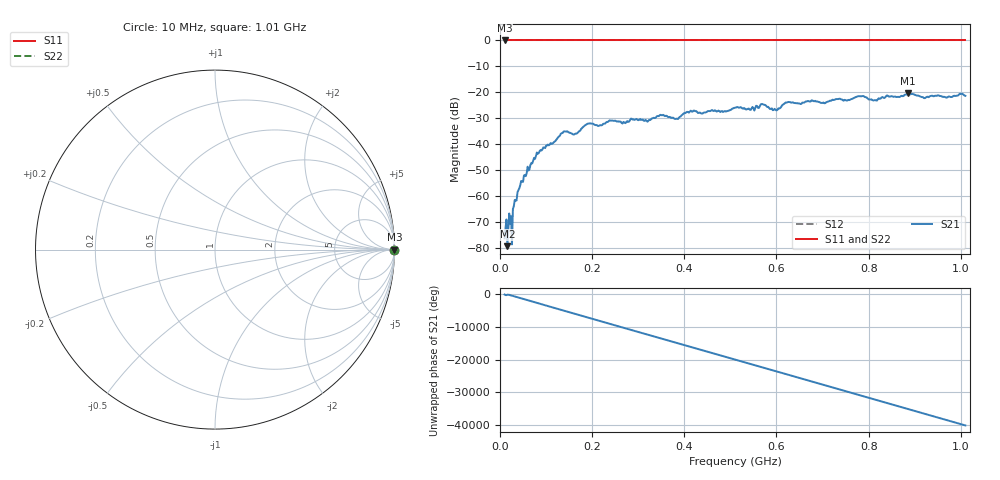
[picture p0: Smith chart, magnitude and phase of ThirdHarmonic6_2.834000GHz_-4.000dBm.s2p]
! 8/17/2025 7:34:20 AM
! C:\ANRITSUVNA\TEMP\TEMP.S2P
! CHANNEL.1
! TR.MEASUREMENT
! RAW.DATA
! RF.CORRECTION.OFF
! AVERAGING.OFF
! IF.BANDWIDTH: 5KHZ
! SWEEPTYPE:  FREQ.SWEEP(Linear)
! Reference Plane Port Info
! PORT:  PORT1  PORT2
! DISTANCE:  0  m  0  m
! TIME:  0  s  0  s
! PHASE.OFFSET:  0  deg.  0  deg.
! LOSS:  0  dB  0  dB
! REF.LOSS:  0  dB  0  dB
! REF.FREQ:  0  Hz  0  Hz
! Power Info
! POWER:  -20  dBm  -20  dBm
! EFF.POWER:  -20  dBm  -20  dBm
! SOURCE.ATTEN:  0  dB  0  dB
! TEST.ATTEN:  0  dB  0  dB
# GHZ S RI R 50.0
! FREQ.GHZ  S11RE  S11IM  S21RE  S21IM  S12RE  S12IM  S22RE  S22IM
!; PortSelection: Port_12
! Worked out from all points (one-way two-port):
!   501 points, 10 MHz to 1.01 GHz, reference 50 ohm
!   highest |S21| = -20.41 dB at 886 MHz (marker M1); lowest = -79.2 dB at 16 MHz (marker M2)
!   lowest |S11| = 0.0 dB at 10 MHz (marker M3)
!   |S11| at or under -10 dB: nowhere
!   |S22| runs from 0.0 to 0.0 dB; largest |S21 - S12| = 1.1
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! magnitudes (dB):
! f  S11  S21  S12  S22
! 10 MHz  0.0  -76.2  0.0  0.0
! 16 MHz  0.0  -79.2  0.0  0.0
! 26 MHz  0.0  -78.5  0.0  0.0
! 32 MHz  0.0  -61.4  0.0  0.0
! 42 MHz  0.0  -56.9  0.0  0.0
! 82 MHz  0.0  -43.6  0.0  0.0
! 136 MHz  0.0  -35.6  0.0  0.0
! 162 MHz  0.0  -36.1  0.0  0.0
! 178 MHz  0.0  -33.7  0.0  0.0
! 194 MHz  0.0  -31.9  0.0  0.0
! 322 MHz  0.0  -30.9  0.0  0.0
! 344 MHz  0.0  -29.1  0.0  0.0
! 382 MHz  0.0  -30.2  0.0  0.0
! 416 MHz  0.0  -27.4  0.0  0.0
! 510 MHz  0.0  -25.9  0.0  0.0
! 570 MHz  0.0  -24.5  0.0  0.0
! 598 MHz  0.0  -26.7  0.0  0.0
! 624 MHz  0.0  -23.8  0.0  0.0
! 678 MHz  0.0  -23.1  0.0  0.0
! 844 MHz  0.0  -21.6  0.0  0.0
! 886 MHz  0.0  -20.4  0.0  0.0
! 1.01 GHz  0.0  -21.3  0.0  0.0
